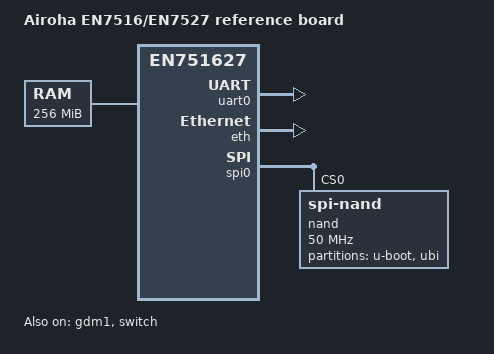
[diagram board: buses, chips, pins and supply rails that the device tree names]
// SPDX-License-Identifier: GPL-2.0+
/* Generic cold-boot reference target; adapt flash type and wiring to the board. */
/dts-v1/;
#include "econet,en751627.dtsi"

/ {
	model = "Airoha EN7516/EN7527 reference board";
	compatible = "econet,en751627-reference", "econet,en751627";

	memory@0 {
		device_type = "memory";
		/* Placeholder; dram_init uses the vendor calibrated size. */
		reg = <0x00000000 0x10000000>;
	};

	chosen {
		stdout-path = "serial0:115200n8";
	};
};

&uart0 {
	status = "okay";
};

&eth {
	status = "okay";
};

&gdm1 {
	status = "okay";
};

&switch {
	status = "okay";
};

&spi0 {
	status = "okay";

	nand: nand@0 {
		compatible = "spi-nand";
		reg = <0>;
		spi-max-frequency = <50000000>;
		spi-tx-bus-width = <1>;
		spi-rx-bus-width = <2>;

		partitions {
			compatible = "fixed-partitions";
			#address-cells = <1>;
			#size-cells = <1>;
	
			partition@0 {
				label = "u-boot";
				reg = <0x000000 0x100000>;
			};
	
			partition@100000 {
				label = "ubi";
				reg = <0x100000 0x000000>;
			};
		};
	};
};
